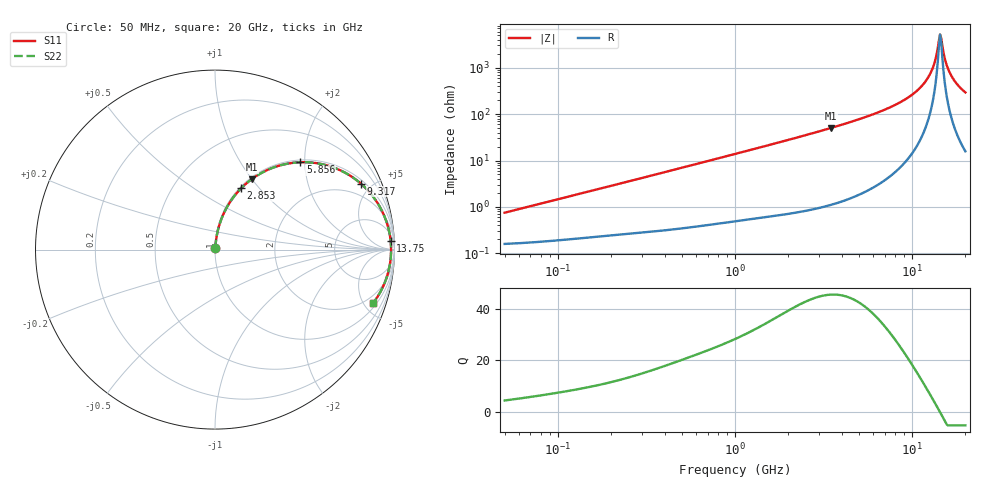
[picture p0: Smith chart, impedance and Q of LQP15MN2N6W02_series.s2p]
!Murata Part Number: LQP15MN2N6W02
!These Parameters are Measured in Series Mode Connection
!  o--[Z]--o
!Port1  Port2
!  o-------o
!Freq. Start=50[MHz] Stop=20[GHz], 401[Steps]
# Hz S RI R 50
!Freq.(Hz) S11(Real) S11(Imag) S21(Real) S21(Imag) S12(Real) S12(Imag) S22(Real) S22(Imag)
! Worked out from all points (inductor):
!   401 points, 50 MHz to 20 GHz, reference 50 ohm
!   read as one part in series: L = 2.33 nH near 51.52 MHz
!   highest Q = 45.3 at 3.467 GHz (marker M1), where L = 2.29 nH
!   self-resonance near 14.39 GHz
!   S11 on the Smith chart (normalised r, x): 50 MHz: 1.00, +0.01; 2.853 GHz: 1.02, +0.81; 5.856 GHz: 1.05, +1.90; 9.317 GHz: 1.20, +4.33; 13.75 GHz: 15, +36; 20 GHz: 1.32, -5.85
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5e7  0.00165 0.00733  0.9984 -0.00733  0.9984 -0.00733  0.00165 0.00733
1.364002e8  0.0025 0.0195  0.9975 -0.0195  0.9975 -0.0195  0.0025 0.0195
3.721004e8  0.00571 0.0516  0.9943 -0.0516  0.9943 -0.0516  0.00571 0.0516
1e9  0.0233 0.1342  0.9767 -0.1342  0.9767 -0.1342  0.0233 0.1342
2.728004e9  0.1344 0.3298  0.8656 -0.3298  0.8656 -0.3298  0.1344 0.3298
2.853386e9  0.1456 0.3415  0.8544 -0.3415  0.8544 -0.3415  0.1456 0.3415
3.466789e9  0.2049 0.3927  0.7951 -0.3927  0.7951 -0.3927  0.2049 0.3927
5.856089e9  0.4754 0.4867  0.5246 -0.4867  0.5246 -0.4867  0.4754 0.4867
7.442007e9  0.6493 0.4613  0.3507 -0.4613  0.3507 -0.4613  0.6493 0.4613
9.316812e9  0.8132 0.3672  0.1868 -0.3672  0.1868 -0.3672  0.8132 0.3672
1.082228e10  0.9032 0.2635  0.0968 -0.2635  0.0968 -0.2635  0.9032 0.2635
1.201863e10  0.9485 0.1743  0.0515 -0.1743  0.0515 -0.1743  0.9485 0.1743
1.295331e10  0.9696 0.1045  0.0304 -0.1045  0.0304 -0.1045  0.9696 0.1045
1.334722e10  0.9751 0.0757  0.0249 -0.0757  0.0249 -0.0757  0.9751 0.0757
1.375312e10  0.9789 0.0464  0.0211 -0.0464  0.0211 -0.0464  0.9789 0.0464
1.417136e10  0.9809 0.017  0.0191 -0.017  0.0191 -0.017  0.9809 0.017
1.460232e10  0.9811 -0.0125  0.0189 0.0125  0.0189 0.0125  0.9811 -0.0125
1.482269e10  0.9805 -0.0272  0.0195 0.0272  0.0195 0.0272  0.9805 -0.0272
1.550395e10  0.9762 -0.0713  0.0238 0.0713  0.0238 0.0713  0.9762 -0.0713
1.646126e10  0.9644 -0.1288  0.0356 0.1288  0.0356 0.1288  0.9644 -0.1288
1.800918e10  0.9343 -0.2105  0.0657 0.2105  0.0657 0.2105  0.9343 -0.2105
2e10  0.883 -0.2956  0.117 0.2956  0.117 0.2956  0.883 -0.2956
